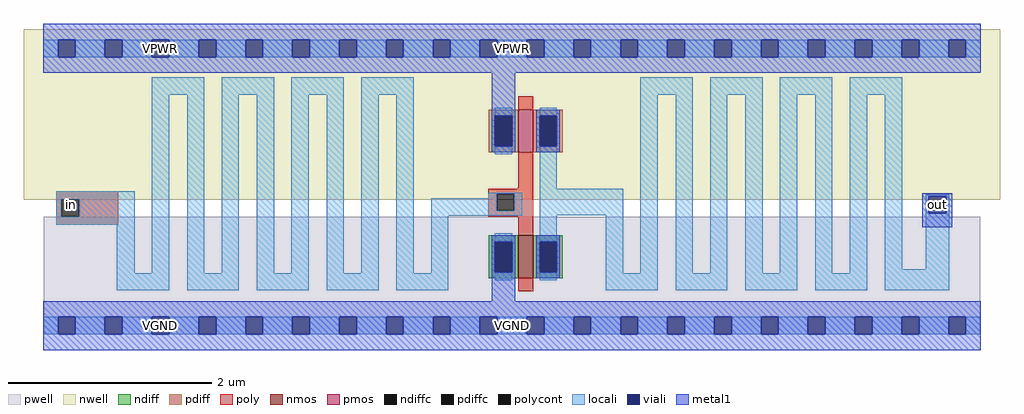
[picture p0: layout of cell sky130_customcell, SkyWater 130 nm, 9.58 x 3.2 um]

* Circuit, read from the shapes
.subckt sky130_customcell in out VPWR VGND VPB VNB
XM1 out in VGND VNB sky130_fd_pr__nfet_01v8 w=0.42 l=0.15
XM2 out in VPWR VPB sky130_fd_pr__pfet_01v8 w=0.42 l=0.15
.ends

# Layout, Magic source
magic
tech sky130A
magscale 1 2
<< nwell >>
rect -38 247 1878 582
<< pwell >>
rect 1 -17 1839 214
<< nmos >>
rect 932 93 962 177
<< pmos >>
rect 932 340 962 424
<< ndiff >>
rect 874 165 932 177
rect 874 105 886 165
rect 920 105 932 165
rect 874 93 932 105
rect 962 165 1020 177
rect 962 105 974 165
rect 1008 105 1020 165
rect 962 93 1020 105
<< pdiff >>
rect 874 412 932 424
rect 874 352 886 412
rect 920 352 932 412
rect 874 340 932 352
rect 962 412 1020 424
rect 962 352 974 412
rect 1008 352 1020 412
rect 962 340 1020 352
<< ndiffc >>
rect 886 105 920 165
rect 974 105 1008 165
<< pdiffc >>
rect 886 352 920 412
rect 974 352 1008 412
<< poly >>
rect 932 424 962 450
rect 932 271 962 340
rect 931 269 962 271
rect 25 248 147 264
rect 25 214 35 248
rect 70 214 147 248
rect 873 259 962 269
rect 873 225 890 259
rect 924 225 962 259
rect 873 214 962 225
rect 25 198 147 214
rect 932 177 962 214
rect 932 67 962 93
<< polycont >>
rect 35 214 70 248
rect 890 225 924 259
<< locali >>
rect 0 527 29 561
rect 63 527 121 561
rect 155 527 213 561
rect 247 527 305 561
rect 339 527 397 561
rect 431 527 489 561
rect 523 527 581 561
rect 615 527 673 561
rect 707 527 765 561
rect 799 527 857 561
rect 891 527 949 561
rect 983 527 1041 561
rect 1075 527 1133 561
rect 1167 527 1225 561
rect 1259 527 1317 561
rect 1351 527 1409 561
rect 1443 527 1501 561
rect 1535 527 1593 561
rect 1627 527 1685 561
rect 1719 527 1777 561
rect 1811 527 1840 561
rect 213 453 316 487
rect 25 248 179 264
rect 25 214 35 248
rect 70 214 179 248
rect 25 198 179 214
rect 144 103 179 198
rect 213 103 247 453
rect 144 69 247 103
rect 282 103 316 453
rect 350 453 453 487
rect 350 103 384 453
rect 282 69 384 103
rect 419 103 453 453
rect 487 453 590 487
rect 487 103 521 453
rect 419 69 521 103
rect 556 103 590 453
rect 624 453 727 487
rect 624 103 658 453
rect 556 69 658 103
rect 693 103 727 453
rect 1172 453 1275 487
rect 886 412 920 428
rect 886 336 920 352
rect 974 412 1008 428
rect 974 269 1008 352
rect 873 259 940 261
rect 873 250 890 259
rect 761 225 890 250
rect 924 225 940 259
rect 761 216 940 225
rect 974 217 1138 269
rect 761 103 795 216
rect 693 69 795 103
rect 886 165 920 181
rect 886 89 920 105
rect 974 165 1008 217
rect 974 89 1008 105
rect 1104 103 1138 217
rect 1172 103 1206 453
rect 1104 69 1206 103
rect 1241 103 1275 453
rect 1309 453 1412 487
rect 1309 103 1343 453
rect 1241 69 1343 103
rect 1378 103 1412 453
rect 1446 453 1549 487
rect 1446 103 1480 453
rect 1378 69 1480 103
rect 1515 103 1549 453
rect 1583 453 1686 487
rect 1583 103 1617 453
rect 1515 69 1617 103
rect 1652 111 1686 453
rect 1732 254 1778 258
rect 1732 220 1738 254
rect 1772 220 1778 254
rect 1732 111 1778 220
rect 1652 69 1778 111
rect 0 -17 29 17
rect 63 -17 121 17
rect 155 -17 213 17
rect 247 -17 305 17
rect 339 -17 397 17
rect 431 -17 489 17
rect 523 -17 581 17
rect 615 -17 673 17
rect 707 -17 765 17
rect 799 -17 857 17
rect 891 -17 949 17
rect 983 -17 1041 17
rect 1075 -17 1133 17
rect 1167 -17 1225 17
rect 1259 -17 1317 17
rect 1351 -17 1409 17
rect 1443 -17 1501 17
rect 1535 -17 1593 17
rect 1627 -17 1685 17
rect 1719 -17 1777 17
rect 1811 -17 1840 17
<< viali >>
rect 29 527 63 561
rect 121 527 155 561
rect 213 527 247 561
rect 305 527 339 561
rect 397 527 431 561
rect 489 527 523 561
rect 581 527 615 561
rect 673 527 707 561
rect 765 527 799 561
rect 857 527 891 561
rect 949 527 983 561
rect 1041 527 1075 561
rect 1133 527 1167 561
rect 1225 527 1259 561
rect 1317 527 1351 561
rect 1409 527 1443 561
rect 1501 527 1535 561
rect 1593 527 1627 561
rect 1685 527 1719 561
rect 1777 527 1811 561
rect 886 352 920 412
rect 974 352 1008 412
rect 886 105 920 165
rect 974 105 1008 165
rect 1738 220 1772 254
rect 29 -17 63 17
rect 121 -17 155 17
rect 213 -17 247 17
rect 305 -17 339 17
rect 397 -17 431 17
rect 489 -17 523 17
rect 581 -17 615 17
rect 673 -17 707 17
rect 765 -17 799 17
rect 857 -17 891 17
rect 949 -17 983 17
rect 1041 -17 1075 17
rect 1133 -17 1167 17
rect 1225 -17 1259 17
rect 1317 -17 1351 17
rect 1409 -17 1443 17
rect 1501 -17 1535 17
rect 1593 -17 1627 17
rect 1685 -17 1719 17
rect 1777 -17 1811 17
<< metal1 >>
rect 0 561 1840 592
rect 0 527 29 561
rect 63 527 121 561
rect 155 527 213 561
rect 247 527 305 561
rect 339 527 397 561
rect 431 527 489 561
rect 523 527 581 561
rect 615 527 673 561
rect 707 527 765 561
rect 799 527 857 561
rect 891 527 949 561
rect 983 527 1041 561
rect 1075 527 1133 561
rect 1167 527 1225 561
rect 1259 527 1317 561
rect 1351 527 1409 561
rect 1443 527 1501 561
rect 1535 527 1593 561
rect 1627 527 1685 561
rect 1719 527 1777 561
rect 1811 527 1840 561
rect 0 496 1840 527
rect 880 412 926 496
rect 880 352 886 412
rect 920 352 926 412
rect 880 340 926 352
rect 968 412 1014 424
rect 968 352 974 412
rect 1008 352 1014 412
rect 968 340 1014 352
rect 1725 254 1784 260
rect 1725 220 1738 254
rect 1772 220 1784 254
rect 1725 193 1784 220
rect 880 165 926 177
rect 880 105 886 165
rect 920 105 926 165
rect 880 48 926 105
rect 968 165 1014 177
rect 968 105 974 165
rect 1008 105 1014 165
rect 968 93 1014 105
rect 0 17 1840 48
rect 0 -17 29 17
rect 63 -17 121 17
rect 155 -17 213 17
rect 247 -17 305 17
rect 339 -17 397 17
rect 431 -17 489 17
rect 523 -17 581 17
rect 615 -17 673 17
rect 707 -17 765 17
rect 799 -17 857 17
rect 891 -17 949 17
rect 983 -17 1041 17
rect 1075 -17 1133 17
rect 1167 -17 1225 17
rect 1259 -17 1317 17
rect 1351 -17 1409 17
rect 1443 -17 1501 17
rect 1535 -17 1593 17
rect 1627 -17 1685 17
rect 1719 -17 1777 17
rect 1811 -17 1840 17
rect 0 -48 1840 -17
<< labels >>
flabel metal1 s 0 496 1840 592 0 FreeSans 160 0 0 0 VPWR
port 3 nsew power bidirectional abutment
flabel metal1 s 213 527 247 561 0 FreeSans 160 0 0 0 VPWR
port 3 nsew power bidirectional abutment
flabel metal1 s 213 -17 247 17 0 FreeSans 160 0 0 0 VGND
port 4 nsew ground bidirectional abutment
flabel metal1 s 0 -48 1840 48 0 FreeSans 160 0 0 0 VGND
port 4 nsew ground bidirectional abutment
flabel nwell s 213 527 247 561 0 FreeSans 160 0 0 0 VPB
port 5 nsew power bidirectional
flabel pwell s 213 -17 247 17 0 FreeSans 160 0 0 0 VNB
port 6 nsew ground bidirectional
flabel metal1 s 1738 220 1772 254 0 FreeSans 160 0 0 0 out
port 2 nsew signal output
flabel locali s 38 221 72 255 7 FreeSans 160 0 0 0 in
port 1 nsew signal input
<< properties >>
string FIXED_BBOX 0 0 1840 544
string LEFclass CORE
string LEForigin 0 0
string LEFsite unithd
string LEFsource USER
<< end >>
